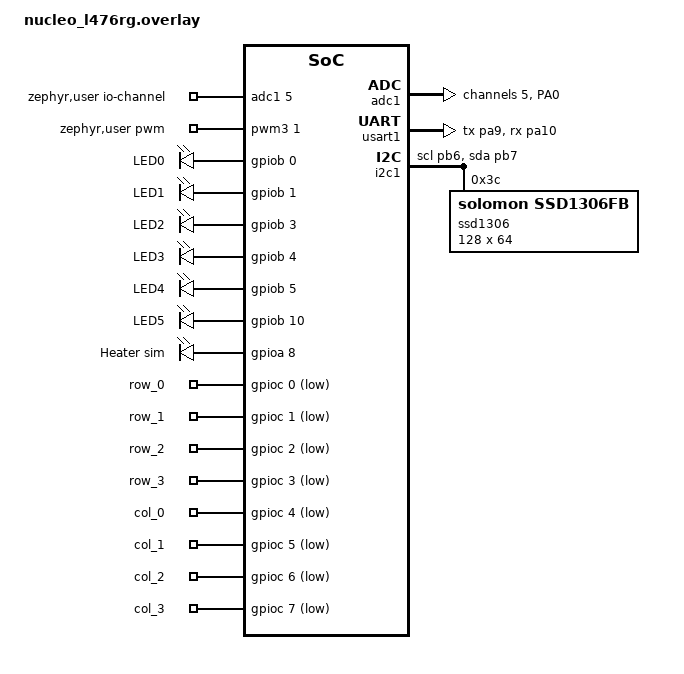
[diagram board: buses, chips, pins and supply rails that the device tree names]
/*
 * nucleo_l476rg.overlay — Mapa de pines del hardware y configuración de periféricos.
 *
 * Este archivo es el punto central para decirle a Zephyr qué pines del STM32 se
 * usan para cada función del proyecto. Si cambia el hardware, aquí se cambian las
 * asociaciones entre funciones lógicas (sensor, ventilador, LEDs, botón, UART,
 * display) y pines físicos del microcontrolador.
 *
 * Cómo leer este archivo:
 * - La sección / { ... } define los recursos del sistema que el firmware consume
 *   desde el árbol de dispositivos.
 * - La sección &pinctrl define el modo eléctrico de algunos pines (ADC, PWM,
 *   I2C, etc.).
 * - Las secciones &adc1, &timers3, &usart1, &i2c1 hacen referencia a esos
 *   recursos y los habilitan para las funciones concretas del proyecto.
 *
 * Cómo cambiar un pin GPIO:
 * 1. Localice la definición del recurso que quiere mover (por ejemplo led0,
 *    heater_pin, row_0, col_0, etc.).
 * 2. Cambie la referencia del pin en la línea gpios = <&gpiob 0 GPIO_ACTIVE_HIGH>.
 *    La forma general es: <&gpioX Y Z> donde:
 *      - X = puerto del STM32 (a, b, c, ...)
 *      - Y = número de pin dentro del puerto
 *      - Z = nivel activo / polaridad
 * 3. Si el pin se usa también en el pinctrl o en un periférico (PWM, ADC, I2C,
 *    UART), verifique que el cambio sea compatible con esos modos.
 * 4. Si el cambio afecta a un periférico físico, ajuste también la lógica del
 *    driver en src/ que espera ese recurso.
 *
 * Ejemplo:
 * - Para mover el LED0 de PB0 a PA5, cambiaría:
 *     led0: led_0 { gpios = <&gpiob 0 GPIO_ACTIVE_HIGH>; };
 *   por:
 *     led0: led_0 { gpios = <&gpioa 5 GPIO_ACTIVE_HIGH>; };
 */

#include <zephyr/dt-bindings/adc/adc.h>
#include <zephyr/dt-bindings/pinctrl/stm32-pinctrl.h>
#include <zephyr/dt-bindings/pwm/pwm.h>
#include <zephyr/dt-bindings/gpio/gpio.h>

/ {
	zephyr,user {
		io-channels = <&adc1 5>;
		pwms        = <&pwm3 1 PWM_KHZ(25) PWM_POLARITY_NORMAL>;
	};

	system_leds {
		compatible = "gpio-leds";
		led0: led_0 { gpios = <&gpiob 0  GPIO_ACTIVE_HIGH>; label = "LED0"; };
		led1: led_1 { gpios = <&gpiob 1  GPIO_ACTIVE_HIGH>; label = "LED1"; };
		led2: led_2 { gpios = <&gpiob 3  GPIO_ACTIVE_HIGH>; label = "LED2"; };
		led3: led_3 { gpios = <&gpiob 4  GPIO_ACTIVE_HIGH>; label = "LED3"; };
		led4: led_4 { gpios = <&gpiob 5  GPIO_ACTIVE_HIGH>; label = "LED4"; };
		led5: led_5 { gpios = <&gpiob 10 GPIO_ACTIVE_HIGH>; label = "LED5"; };
	};

	heater_ctrl {
		compatible = "gpio-leds";
		heater_pin: heater_0 { gpios = <&gpioa 8 GPIO_ACTIVE_HIGH>; label = "Heater sim"; };
	};

	/* Se reescribió este bloque para exponer cada pin del teclado como un nodo
	 * independiente con etiqueta, que es lo que el driver espera al usar
	 * DT_NODELABEL(row_0), DT_NODELABEL(col_0), etc.
	 *
	 * Mapeo físico actual:
	 * - Filas: PC0, PC1, PC2, PC3
	 * - Columnas: PC4, PC5, PC6, PC7
	 *
	 * Si cambias estos pines, actualiza solo este overlay.
	 * El código del driver ya consume los nodos DT y no requiere modificaciones.
	 */
	keypad_rows {
		compatible = "gpio-keys";
		row_0: row_0 { gpios = <&gpioc 0 GPIO_ACTIVE_LOW>; };
		row_1: row_1 { gpios = <&gpioc 1 GPIO_ACTIVE_LOW>; };
		row_2: row_2 { gpios = <&gpioc 2 GPIO_ACTIVE_LOW>; };
		row_3: row_3 { gpios = <&gpioc 3 GPIO_ACTIVE_LOW>; };
	};

	keypad_cols {
		compatible = "gpio-keys";
		col_0: col_0 { gpios = <&gpioc 4 (GPIO_ACTIVE_LOW | GPIO_PULL_UP)>; };
		col_1: col_1 { gpios = <&gpioc 5 (GPIO_ACTIVE_LOW | GPIO_PULL_UP)>; };
		col_2: col_2 { gpios = <&gpioc 6 (GPIO_ACTIVE_LOW | GPIO_PULL_UP)>; };
		col_3: col_3 { gpios = <&gpioc 7 (GPIO_ACTIVE_LOW | GPIO_PULL_UP)>; };
	};
};

/* ── SECCIÓN PINCTRL ────────────────────────────────────────────────────── */
&pinctrl {
	ntc_adc_pins: ntc_adc_pins {
		pinmux = <STM32_PINMUX('A', 0, ANALOG)>;
	};
	
	fan_pwm_pins: fan_pwm_pins {
		pinmux = <STM32_PINMUX('A', 6, AF2)>;
	};

	/* ¡NUEVO FORMATO!
	Cada pin de I2C es su propio nodo independiente */
	i2c1_scl_pb6: i2c1_scl_pb6 {
		pinmux = <STM32_PINMUX('B', 6, AF4)>;
		bias-pull-up;
		drive-open-drain;
	};
	
	i2c1_sda_pb7: i2c1_sda_pb7 {
		pinmux = <STM32_PINMUX('B', 7, AF4)>;
		bias-pull-up;
		drive-open-drain;
	};
};

/* ── PERIFÉRICOS ────────────────────────────────────────────────────────── */

&adc1 {
	pinctrl-0 = <&ntc_adc_pins>;
	#address-cells = <1>;
	#size-cells = <0>;

	channel@5 {
		reg = <5>;
		zephyr,gain             = "ADC_GAIN_1";
		zephyr,reference        = "ADC_REF_INTERNAL";
		zephyr,acquisition-time = <ADC_ACQ_TIME_DEFAULT>;
		zephyr,resolution       = <12>;
	};
};

&timers3 {
	pwm3: pwm {
		pinctrl-0 = <&fan_pwm_pins>;
	};
};

&usart1 {
	/* UART1 se usa en este firmware para la comunicación con el ESP32.
	 * En la placa Nucleo-L476RG, USART1 está mapeado por defecto a PA9 (TX)
	 * y PA10 (RX). Si decides mover la conexión al ESP32, cambia estos pines
	 * aquí y asegúrate de que el dispositivo siga llamándose "usart1".
	 */
	pinctrl-0 = <&usart1_tx_pa9 &usart1_rx_pa10>;
	pinctrl-names = "default";
	status = "okay";
};

&i2c1 {
	pinctrl-0 = <&i2c1_scl_pb6 &i2c1_sda_pb7>;
	status = "okay"; /* Asegura que el bus esté activo */
	
	ssd1306: ssd1306@3c {
		compatible        = "solomon,ssd1306fb";
		reg               = <0x3c>;
		width             = <128>;
		height            = <64>;
		segment-offset    = <0>;
		page-offset       = <0>;
		display-offset    = <0>;
		multiplex-ratio   = <63>;
		segment-remap;
		com-invdir;
		prechargep        = <0x22>;
		status            = "okay"; /* <-- AGREGA ESTA LÍNEA AQUÍ */
	};
};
